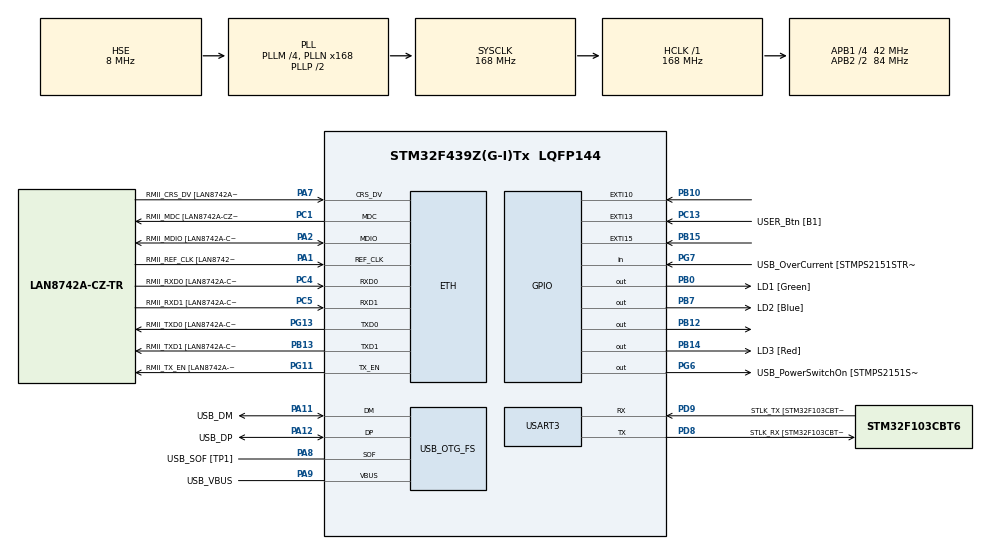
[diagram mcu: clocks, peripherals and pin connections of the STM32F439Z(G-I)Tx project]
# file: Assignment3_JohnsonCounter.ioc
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ETH.MediaInterface=HAL_ETH_RMII_MODE
ETH.PHY_Name=LAN8742A_PHY_ADDRESS
ETH.PHY_Value=0
ETH.PhyAddress=0
Mcu.Family=STM32F4
Mcu.Name=STM32F439Z(G-I)Tx
Mcu.Package=LQFP144
NVIC.EXTI15_10_IRQn=true\:0\:0\:false\:false\:true\:true\:true\:true
NVIC.PriorityGroup=NVIC_PRIORITYGROUP_4
PA1.GPIO_Label=RMII_REF_CLK [LAN8742A-CZ-TR_REFCLK0]
PA1.Mode=RMII
PA1.Signal=ETH_REF_CLK
PA10.GPIO_Label=USB_ID
PA10.Signal=USB_OTG_FS_ID
PA11.GPIO_Label=USB_DM
PA11.Mode=Device_Only
PA11.Signal=USB_OTG_FS_DM
PA12.GPIO_Label=USB_DP
PA12.Mode=Device_Only
PA12.Signal=USB_OTG_FS_DP
PA13.GPIO_Label=TMS
PA13.Mode=Serial_Wire
PA13.Signal=SYS_JTMS-SWDIO
PA14.GPIO_Label=TCK
PA14.Mode=Serial_Wire
PA14.Signal=SYS_JTCK-SWCLK
PA2.GPIO_Label=RMII_MDIO [LAN8742A-CZ-TR_MDIO]
PA2.Mode=RMII
PA2.Signal=ETH_MDIO
PA7.GPIO_Label=RMII_CRS_DV [LAN8742A-CZ-TR_CRS_DV]
PA7.Mode=RMII
PA7.Signal=ETH_CRS_DV
PA8.GPIO_Label=USB_SOF [TP1]
PA8.Mode=Activate_SOF_FS
PA8.Signal=USB_OTG_FS_SOF
PA9.GPIO_Label=USB_VBUS
PA9.Mode=Activate_VBUS
PA9.Signal=USB_OTG_FS_VBUS
PB0.GPIO_Label=LD1 [Green]
PB0.Signal=GPIO_Output
PB10.Signal=GPXTI10
PB12.Signal=GPIO_Output
PB13.GPIO_Label=RMII_TXD1 [LAN8742A-CZ-TR_TXD1]
PB13.Mode=RMII
PB13.Signal=ETH_TXD1
PB14.GPIO_Label=LD3 [Red]
PB14.Signal=GPIO_Output
PB15.Signal=GPXTI15
PB7.GPIO_Label=LD2 [Blue]
PB7.Signal=GPIO_Output
PC1.GPIO_Label=RMII_MDC [LAN8742A-CZ-TR_MDC]
PC1.Mode=RMII
PC1.Signal=ETH_MDC
PC13.GPIO_Label=USER_Btn [B1]
PC13.Signal=GPXTI13
PC14/OSC32_IN.Mode=LSE-External-Oscillator
PC14/OSC32_IN.Signal=RCC_OSC32_IN
PC15/OSC32_OUT.Mode=LSE-External-Oscillator
PC15/OSC32_OUT.Signal=RCC_OSC32_OUT
PC4.GPIO_Label=RMII_RXD0 [LAN8742A-CZ-TR_RXD0]
PC4.Mode=RMII
PC4.Signal=ETH_RXD0
PC5.GPIO_Label=RMII_RXD1 [LAN8742A-CZ-TR_RXD1]
PC5.Mode=RMII
PC5.Signal=ETH_RXD1
PD8.GPIO_Label=STLK_RX [STM32F103CBT6_PA3]
PD8.Mode=Asynchronous
PD8.Signal=USART3_TX
PD9.GPIO_Label=STLK_TX [STM32F103CBT6_PA2]
PD9.Mode=Asynchronous
PD9.Signal=USART3_RX
PG11.GPIO_Label=RMII_TX_EN [LAN8742A-CZ-TR_TXEN]
PG11.Mode=RMII
PG11.Signal=ETH_TX_EN
PG13.GPIO_Label=RMII_TXD0 [LAN8742A-CZ-TR_TXD0]
PG13.Mode=RMII
PG13.Signal=ETH_TXD0
PG6.GPIO_Label=USB_PowerSwitchOn [STMPS2151STR_EN]
PG6.Signal=GPIO_Output
PG7.GPIO_Label=USB_OverCurrent [STMPS2151STR_FAULT]
PG7.Signal=GPIO_Input
PH0/OSC_IN.GPIO_Label=MCO [STM32F103CBT6_PA8]
PH0/OSC_IN.Mode=HSE-External-Clock-Source
PH0/OSC_IN.Signal=RCC_OSC_IN
PH1/OSC_OUT.Mode=HSE-External-Clock-Source
PH1/OSC_OUT.Signal=RCC_OSC_OUT
ProjectManager.HeapSize=0x200
ProjectManager.StackSize=0x400
ProjectManager.TargetToolchain=STM32CubeIDE
RCC.48MHZClocksFreq_Value=48000000
RCC.AHBFreq_Value=168000000
RCC.APB1CLKDivider=RCC_HCLK_DIV4
RCC.APB1Freq_Value=42000000
RCC.APB1TimFreq_Value=84000000
RCC.APB2CLKDivider=RCC_HCLK_DIV2
RCC.APB2Freq_Value=84000000
RCC.APB2TimCLKDivider=2
RCC.APB2TimFreq_Value=168000000
RCC.CortexFreq_Value=168000000
RCC.HCLKFreq_Value=168000000
RCC.HSE_VALUE=8000000
RCC.HSI_VALUE=16000000
RCC.PLLM=4
RCC.PLLMUL=RCC_PLL_MUL9
RCC.PLLN=168
RCC.PLLQ=7
RCC.PRESCALERUSB=RCC_USBCLKSOURCE_PLL_DIV1_5
RCC.SYSCLKFreq_VALUE=168000000
RCC.SYSCLKSource=RCC_SYSCLKSOURCE_PLLCLK
RCC.SYSCLKSourceVirtual=RCC_SYSCLKSOURCE_PLLCLK
RCC.USBFreq_Value=48000000
RCC.VCOOutputFreq_Value=336000000
USART3.VirtualMode=VM_ASYNC
USB_OTG_FS.VirtualMode=Device_Only
board=NUCLEO-F439ZI

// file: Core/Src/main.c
/* USER CODE BEGIN Header */
/**
  ******************************************************************************
  * @file           : main.c
  * @brief          : Main program body
  ******************************************************************************
  * @attention
  *
  * Copyright (c) 2025 STMicroelectronics.
  * All rights reserved.
  *
  * This software is licensed under terms that can be found in the LICENSE file
  * in the root directory of this software component.
  * If no LICENSE file comes with this software, it is provided AS-IS.
  *
  ******************************************************************************
  */
/* USER CODE END Header */
#include "main.h"
#include "string.h"

ETH_TxPacketConfig TxConfig;
ETH_DMADescTypeDef  DMARxDscrTab[ETH_RX_DESC_CNT]; /* Ethernet Rx DMA Descriptors */
ETH_DMADescTypeDef  DMATxDscrTab[ETH_TX_DESC_CNT]; /* Ethernet Tx DMA Descriptors */

ETH_HandleTypeDef heth;

UART_HandleTypeDef huart3;

PCD_HandleTypeDef hpcd_USB_OTG_FS;

/* USER CODE BEGIN PV */

int increment_button;
int select_button;

int bit_value[3] = {2,3,4} ;

int32_t temp_two_expo = 1;
uint32_t i=0;
uint32_t counter=0;
uint32_t current_time;
uint32_t previous_time;
int debounce_time = 200;

void flash_led(void){

	HAL_GPIO_WritePin(GPIOB, LD1_Pin, 1);
	HAL_GPIO_WritePin(GPIOB, LD2_Pin, 1);
	HAL_GPIO_WritePin(GPIOB, LD3_Pin, 1);
	HAL_GPIO_WritePin(GPIOB, GPIO_PIN_12, 1);
	HAL_Delay(800);

	HAL_GPIO_WritePin(GPIOB, LD1_Pin, 0);
	HAL_GPIO_WritePin(GPIOB, LD2_Pin, 0);
	HAL_GPIO_WritePin(GPIOB, LD3_Pin, 0);
	HAL_GPIO_WritePin(GPIOB, GPIO_PIN_12, 0);
	HAL_Delay(200);

	HAL_GPIO_WritePin(GPIOB, LD1_Pin, 1);
	HAL_GPIO_WritePin(GPIOB, LD2_Pin, 1);
	HAL_GPIO_WritePin(GPIOB, LD3_Pin, 1);
	HAL_GPIO_WritePin(GPIOB, GPIO_PIN_12, 1);
	HAL_Delay(800);

	HAL_GPIO_WritePin(GPIOB, LD1_Pin, 0);
	HAL_GPIO_WritePin(GPIOB, LD2_Pin, 0);
	HAL_GPIO_WritePin(GPIOB, LD3_Pin, 0);
	HAL_GPIO_WritePin(GPIOB, GPIO_PIN_12, 0);
	HAL_Delay(200);

	HAL_GPIO_WritePin(GPIOB, LD1_Pin, 1);
	HAL_GPIO_WritePin(GPIOB, LD2_Pin, 1);
	HAL_GPIO_WritePin(GPIOB, LD3_Pin, 1);
	HAL_GPIO_WritePin(GPIOB, GPIO_PIN_12, 1);
	HAL_Delay(800);

	HAL_GPIO_WritePin(GPIOB, LD1_Pin, 0);
	HAL_GPIO_WritePin(GPIOB, LD2_Pin, 0);
	HAL_GPIO_WritePin(GPIOB, LD3_Pin, 0);
	HAL_GPIO_WritePin(GPIOB, GPIO_PIN_12, 0);
	HAL_Delay(200);

}

void display_number(int num){
	//lights us LEDs corresponding to the binary value of the given input
	//LSB to MSB -> LD1, LD2, LD3 and B12

	int shift_num = num;
	HAL_GPIO_WritePin(GPIOB,LD1_Pin, shift_num & 1 );
	shift_num = shift_num >> 1;
	HAL_GPIO_WritePin(GPIOB, LD2_Pin, shift_num & 1 );
	shift_num = shift_num >> 1;
	HAL_GPIO_WritePin(GPIOB, LD3_Pin, shift_num & 1 );
	shift_num = shift_num >> 1;
	HAL_GPIO_WritePin(GPIOB, GPIO_PIN_12, shift_num & 1 );
}

//PB15 for cycle_button
//PB10 for set_button
/* USER CODE END PV */

void SystemClock_Config(void);
static void MX_GPIO_Init(void);
static void MX_ETH_Init(void);
static void MX_USART3_UART_Init(void);
static void MX_USB_OTG_FS_PCD_Init(void);

int main(void)
{

  /* MCU Configuration--------------------------------------------------------*/

  /* Reset of all peripherals, Initializes the Flash interface and the Systick. */
  HAL_Init();

  /* Configure the system clock */
  SystemClock_Config();

  /* Initialize all configured peripherals */
  MX_GPIO_Init();
  MX_ETH_Init();
  MX_USART3_UART_Init();
  MX_USB_OTG_FS_PCD_Init();

  /* Infinite loop */
  while (1)
  {

    /* USER CODE BEGIN 3 */
	  while (select_button == 0){
	  	display_number(bit_value[i]);
	  		if (increment_button){
	  			i=(i+1)%3;
	  			increment_button=0;
	  		}
	  	}
	  	flash_led();
	  	while(1){
	  		display_number(counter);
	  		if (counter == ((temp_two_expo << bit_value[i]))){
	  			counter=0;
	  		}

	  	}

  }
  /* USER CODE END 3 */
}

void SystemClock_Config(void)
{
  RCC_OscInitTypeDef RCC_OscInitStruct = {0};
  RCC_ClkInitTypeDef RCC_ClkInitStruct = {0};

  /** Configure the main internal regulator output voltage
  */
  __HAL_RCC_PWR_CLK_ENABLE();
  __HAL_PWR_VOLTAGESCALING_CONFIG(PWR_REGULATOR_VOLTAGE_SCALE1);

  /** Initializes the RCC Oscillators according to the specified parameters
  * in the RCC_OscInitTypeDef structure.
  */
  RCC_OscInitStruct.OscillatorType = RCC_OSCILLATORTYPE_HSE;
  RCC_OscInitStruct.HSEState = RCC_HSE_BYPASS;
  RCC_OscInitStruct.PLL.PLLState = RCC_PLL_ON;
  RCC_OscInitStruct.PLL.PLLSource = RCC_PLLSOURCE_HSE;
  RCC_OscInitStruct.PLL.PLLM = 4;
  RCC_OscInitStruct.PLL.PLLN = 168;
  RCC_OscInitStruct.PLL.PLLP = RCC_PLLP_DIV2;
  RCC_OscInitStruct.PLL.PLLQ = 7;
  if (HAL_RCC_OscConfig(&RCC_OscInitStruct) != HAL_OK)
  {
    Error_Handler();
  }

  /** Initializes the CPU, AHB and APB buses clocks
  */
  RCC_ClkInitStruct.ClockType = RCC_CLOCKTYPE_HCLK|RCC_CLOCKTYPE_SYSCLK
                              |RCC_CLOCKTYPE_PCLK1|RCC_CLOCKTYPE_PCLK2;
  RCC_ClkInitStruct.SYSCLKSource = RCC_SYSCLKSOURCE_PLLCLK;
  RCC_ClkInitStruct.AHBCLKDivider = RCC_SYSCLK_DIV1;
  RCC_ClkInitStruct.APB1CLKDivider = RCC_HCLK_DIV4;
  RCC_ClkInitStruct.APB2CLKDivider = RCC_HCLK_DIV2;

  if (HAL_RCC_ClockConfig(&RCC_ClkInitStruct, FLASH_LATENCY_5) != HAL_OK)
  {
    Error_Handler();
  }
}

static void MX_ETH_Init(void)
{

   static uint8_t MACAddr[6];

  heth.Instance = ETH;
  MACAddr[0] = 0x00;
  MACAddr[1] = 0x80;
  MACAddr[2] = 0xE1;
  MACAddr[3] = 0x00;
  MACAddr[4] = 0x00;
  MACAddr[5] = 0x00;
  heth.Init.MACAddr = &MACAddr[0];
  heth.Init.MediaInterface = HAL_ETH_RMII_MODE;
  heth.Init.TxDesc = DMATxDscrTab;
  heth.Init.RxDesc = DMARxDscrTab;
  heth.Init.RxBuffLen = 1524;

  if (HAL_ETH_Init(&heth) != HAL_OK)
  {
    Error_Handler();
  }

  memset(&TxConfig, 0 , sizeof(ETH_TxPacketConfig));
  TxConfig.Attributes = ETH_TX_PACKETS_FEATURES_CSUM | ETH_TX_PACKETS_FEATURES_CRCPAD;
  TxConfig.ChecksumCtrl = ETH_CHECKSUM_IPHDR_PAYLOAD_INSERT_PHDR_CALC;
  TxConfig.CRCPadCtrl = ETH_CRC_PAD_INSERT;

}

static void MX_USART3_UART_Init(void)
{

  huart3.Instance = USART3;
  huart3.Init.BaudRate = 115200;
  huart3.Init.WordLength = UART_WORDLENGTH_8B;
  huart3.Init.StopBits = UART_STOPBITS_1;
  huart3.Init.Parity = UART_PARITY_NONE;
  huart3.Init.Mode = UART_MODE_TX_RX;
  huart3.Init.HwFlowCtl = UART_HWCONTROL_NONE;
  huart3.Init.OverSampling = UART_OVERSAMPLING_16;
  if (HAL_UART_Init(&huart3) != HAL_OK)
  {
    Error_Handler();
  }

}

static void MX_USB_OTG_FS_PCD_Init(void)
{

  hpcd_USB_OTG_FS.Instance = USB_OTG_FS;
  hpcd_USB_OTG_FS.Init.dev_endpoints = 4;
  hpcd_USB_OTG_FS.Init.speed = PCD_SPEED_FULL;
  hpcd_USB_OTG_FS.Init.dma_enable = DISABLE;
  hpcd_USB_OTG_FS.Init.phy_itface = PCD_PHY_EMBEDDED;
  hpcd_USB_OTG_FS.Init.Sof_enable = ENABLE;
  hpcd_USB_OTG_FS.Init.low_power_enable = DISABLE;
  hpcd_USB_OTG_FS.Init.lpm_enable = DISABLE;
  hpcd_USB_OTG_FS.Init.vbus_sensing_enable = ENABLE;
  hpcd_USB_OTG_FS.Init.use_dedicated_ep1 = DISABLE;
  if (HAL_PCD_Init(&hpcd_USB_OTG_FS) != HAL_OK)
  {
    Error_Handler();
  }

}

static void MX_GPIO_Init(void)
{
  GPIO_InitTypeDef GPIO_InitStruct = {0};

  /* GPIO Ports Clock Enable */
  __HAL_RCC_GPIOC_CLK_ENABLE();
  __HAL_RCC_GPIOH_CLK_ENABLE();
  __HAL_RCC_GPIOA_CLK_ENABLE();
  __HAL_RCC_GPIOB_CLK_ENABLE();
  __HAL_RCC_GPIOD_CLK_ENABLE();
  __HAL_RCC_GPIOG_CLK_ENABLE();

  /*Configure GPIO pin Output Level */
  HAL_GPIO_WritePin(GPIOB, LD1_Pin|GPIO_PIN_12|LD3_Pin|LD2_Pin, GPIO_PIN_RESET);

  /*Configure GPIO pin Output Level */
  HAL_GPIO_WritePin(USB_PowerSwitchOn_GPIO_Port, USB_PowerSwitchOn_Pin, GPIO_PIN_RESET);

  /*Configure GPIO pin : USER_Btn_Pin */
  GPIO_InitStruct.Pin = USER_Btn_Pin;
  GPIO_InitStruct.Mode = GPIO_MODE_IT_RISING;
  GPIO_InitStruct.Pull = GPIO_NOPULL;
  HAL_GPIO_Init(USER_Btn_GPIO_Port, &GPIO_InitStruct);

  /*Configure GPIO pins : LD1_Pin PB12 LD3_Pin LD2_Pin */
  GPIO_InitStruct.Pin = LD1_Pin|GPIO_PIN_12|LD3_Pin|LD2_Pin;
  GPIO_InitStruct.Mode = GPIO_MODE_OUTPUT_PP;
  GPIO_InitStruct.Pull = GPIO_NOPULL;
  GPIO_InitStruct.Speed = GPIO_SPEED_FREQ_LOW;
  HAL_GPIO_Init(GPIOB, &GPIO_InitStruct);

  /*Configure GPIO pins : PB10 PB15 */
  GPIO_InitStruct.Pin = GPIO_PIN_10|GPIO_PIN_15;
  GPIO_InitStruct.Mode = GPIO_MODE_IT_RISING;
  GPIO_InitStruct.Pull = GPIO_NOPULL;
  HAL_GPIO_Init(GPIOB, &GPIO_InitStruct);

  /*Configure GPIO pin : USB_PowerSwitchOn_Pin */
  GPIO_InitStruct.Pin = USB_PowerSwitchOn_Pin;
  GPIO_InitStruct.Mode = GPIO_MODE_OUTPUT_PP;
  GPIO_InitStruct.Pull = GPIO_NOPULL;
  GPIO_InitStruct.Speed = GPIO_SPEED_FREQ_LOW;
  HAL_GPIO_Init(USB_PowerSwitchOn_GPIO_Port, &GPIO_InitStruct);

  /*Configure GPIO pin : USB_OverCurrent_Pin */
  GPIO_InitStruct.Pin = USB_OverCurrent_Pin;
  GPIO_InitStruct.Mode = GPIO_MODE_INPUT;
  GPIO_InitStruct.Pull = GPIO_NOPULL;
  HAL_GPIO_Init(USB_OverCurrent_GPIO_Port, &GPIO_InitStruct);

  /* EXTI interrupt init*/
  HAL_NVIC_SetPriority(EXTI15_10_IRQn, 0, 0);
  HAL_NVIC_EnableIRQ(EXTI15_10_IRQn);

}

/* USER CODE BEGIN 4 */
void HAL_GPIO_EXTI_Callback(uint16_t GPIO_Pin)
{
  /* Prevent unused argument(s) compilation warning */
  UNUSED(GPIO_Pin);
  /* NOTE: This function Should not be modified, when the callback is needed,
           the HAL_GPIO_EXTI_Callback could be implemented in the user file
   */
  // PIN 15 FOR increment BUTTON
  // PIN 10 FOR select_BUTTON
  current_time = HAL_GetTick();
  if (select_button==1){ /// counting phase
	  if (GPIO_Pin == GPIO_PIN_15 && (current_time - previous_time > debounce_time) ){
			  counter=counter+1;
	  }
	  if (GPIO_Pin == GPIO_PIN_10 && (current_time - previous_time > debounce_time) ){
		  counter=0;
	  }
	  previous_time = current_time;
  }
  else {
	  if (GPIO_Pin == GPIO_PIN_15 && (current_time - previous_time > debounce_time) ){
		  increment_button=1;

	  	}

	  if (GPIO_Pin == GPIO_PIN_10 && (current_time - previous_time > debounce_time) ){
		  select_button=1;

	  }
	  previous_time = current_time;
  }

}
/* USER CODE END 4 */

void Error_Handler(void)
{
  __disable_irq();
  while (1)
  {
  }
}
